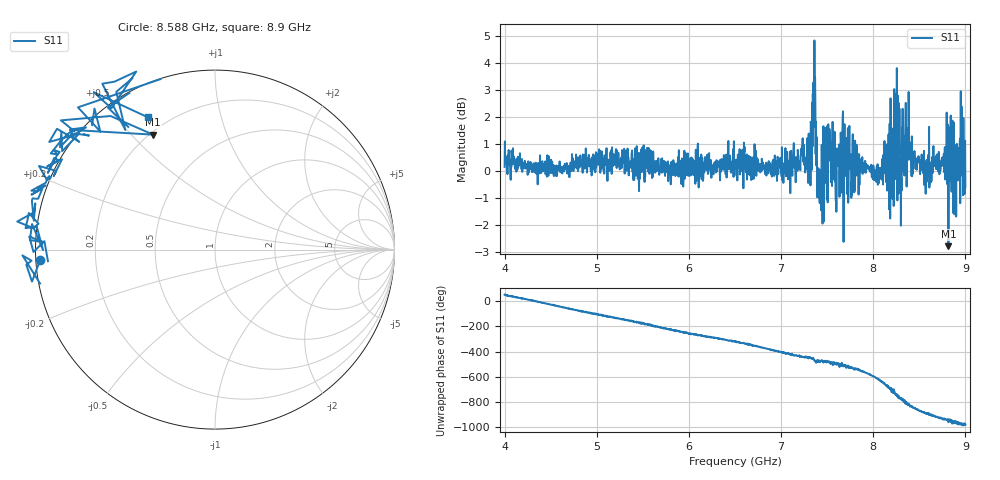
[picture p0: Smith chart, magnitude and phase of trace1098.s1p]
! Created with skrf 1.8.0 (http://scikit-rf.org).
# Hz S RI R 50.0
!freq ReS11 ImS11
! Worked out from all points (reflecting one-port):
!   1601 points, 4 GHz to 9 GHz, reference 50 ohm
!   lowest |S11| = -2.8 dB at 8.816 GHz (marker M1), VSWR 6.33, Z = 10.6 + j28.9 ohm
!   phase of S11 starts at 53 deg and turns -1033 deg over the sweep
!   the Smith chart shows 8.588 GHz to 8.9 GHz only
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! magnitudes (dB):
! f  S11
! 4 GHz  0.2
! 4.625 GHz  -0.1
! 5.25 GHz  0.1
! 5.875 GHz  0.0
! 6.5 GHz  0.4
! 7.125 GHz  0.6
! 7.294 GHz  -0.4
! 7.316 GHz  1.1
! 7.347 GHz  2.4
! 7.362 GHz  4.8
! 7.412 GHz  -0.4
! 7.512 GHz  1.7
! 7.609 GHz  0.3
! 7.647 GHz  1.4
! 7.75 GHz  0.2
! 8.069 GHz  -0.1
! 8.144 GHz  0.1
! 8.197 GHz  0.4
! 8.253 GHz  0.2
! 8.316 GHz  1.1
! 8.334 GHz  1.2
! 8.375 GHz  1.1
! 8.438 GHz  0.6
! 8.562 GHz  -0.3
! 8.816 GHz  -2.8
! 8.875 GHz  0.5
! 8.972 GHz  0.9
! 9 GHz  -0.6
